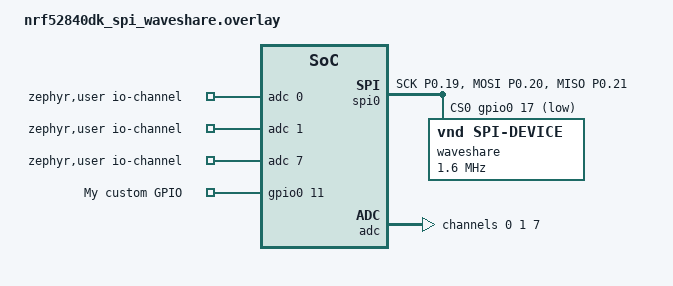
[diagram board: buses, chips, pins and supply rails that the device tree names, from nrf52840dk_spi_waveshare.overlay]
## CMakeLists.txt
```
# SPDX-License-Identifier: Apache-2.0

cmake_minimum_required(VERSION 3.20.0)
find_package(Zephyr REQUIRED HINTS $ENV{ZEPHYR_BASE})
project(beacon)

include_directories(include/)
target_sources(app PRIVATE 
    src/main.c
    src/epd_driver.c
    # src/bluetooth.c
    # src/tds.c
    # src/ultrasonic.c
)
```

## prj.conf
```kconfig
# Bluetooth
CONFIG_BT=y
CONFIG_BT_PERIPHERAL=y
CONFIG_BT_DEVICE_NAME="water.ai"

# for SPI
# CONFIG_SPI=y
CONFIG_GPIO=y
CONFIG_DISPLAY=y
CONFIG_SSD16XX=y

# # required for SPI
# CONFIG_MIPI_DBI=y
# CONFIG_MIPI_DBI_SPI=y

# Analog sensor
CONFIG_ADC=y
CONFIG_ADC_ASYNC=y

# Logging (Recommended)
CONFIG_LOG=y
# CONFIG_LOG_DEFAULT_LEVEL=4 
# CONFIG_DISPLAY_LOG_LEVEL_DBG=y
# CONFIG_SPI_LOG_LEVEL_DBG=y
# CONFIG_MIPI_DBI_LOG_LEVEL_DBG=y

CONFIG_I2C=y
CONFIG_I2C_NRFX=y
```

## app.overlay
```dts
/*
 * SPDX-License-Identifier: Apache-2.0
 *
 * Copyright (c) 2022 Nordic Semiconductor ASA
 */


/ {
	zephyr,user {
		io-channels = <&adc 0>, <&adc 1>, <&adc 7>;
	};
};

&adc {
	#address-cells = <1>;
	#size-cells = <0>;

	channel@0 {
		reg = <0>;
		zephyr,gain = "ADC_GAIN_1_6";
		zephyr,reference = "ADC_REF_INTERNAL";
		zephyr,acquisition-time = <ADC_ACQ_TIME_DEFAULT>;
		zephyr,input-positive = <NRF_SAADC_AIN1>; /* P0.03 */
		zephyr,resolution = <12>;
	};

	channel@1 {
		reg = <1>;
		zephyr,gain = "ADC_GAIN_1_6";
		zephyr,reference = "ADC_REF_INTERNAL";
		zephyr,acquisition-time = <ADC_ACQ_TIME_DEFAULT>;
		zephyr,input-positive = <NRF_SAADC_VDD>;
		zephyr,resolution = <14>;
		zephyr,oversampling = <8>;
	};

	channel@7 {
		reg = <7>;
		zephyr,gain = "ADC_GAIN_1_5";
		zephyr,reference = "ADC_REF_VDD_1_4";
		zephyr,vref-mv = <750>;
		zephyr,acquisition-time = <ADC_ACQ_TIME_DEFAULT>;
		zephyr,input-positive = <NRF_SAADC_AIN6>; /* P0.30 */
		zephyr,input-negative = <NRF_SAADC_AIN7>; /* P0.31 */
		zephyr,resolution = <12>;
	};
};

// i2c1 uses pin 30 and 31
// https://github.com/zephyrproject-rtos/zephyr/blob/fd6b05c81b86a1ffe465d56ded7b73a9fdb7f14b/boards/nordic/nrf52840dk/nrf52840dk_nrf52840.dts#L209-L216
// https://github.com/zephyrproject-rtos/zephyr/blob/fd6b05c81b86a1ffe465d56ded7b73a9fdb7f14b/boards/nordic/nrf52840dk/nrf52840dk_nrf52840-pinctrl.dtsi#L64-L77
&i2c1 {
	compatible = "nordic,nrf-twim";
	status = "okay";
	clock-frequency = <100000>;

	imu:nRF52840@28 {
		// device compatible
		label = "imu";
       	reg = <0x68>;
   	};
};
```

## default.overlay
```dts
/*
 * Copyright (c) 2017 Linaro Limited
 *
 * SPDX-License-Identifier: Apache-2.0
 */

#include <nordic/nrf52840_qiaa.dtsi>
#include <nordic/nrf52840_partition.dtsi>
#include "./zephyr/boards/nordic/nrf52840dk/nrf52840dk_nrf52840-pinctrl.dtsi"
#include <zephyr/dt-bindings/input/input-event-codes.h>

/ {
	model = "Nordic nRF52840 DK NRF52840";
	compatible = "nordic,nrf52840-dk-nrf52840";

	chosen {
		zephyr,console = &uart0;
		zephyr,shell-uart = &uart0;
		zephyr,uart-mcumgr = &uart0;
		zephyr,bt-mon-uart = &uart0;
		zephyr,bt-c2h-uart = &uart0;
		zephyr,ieee802154 = &ieee802154;
		zephyr,boot-mode = &boot_mode0;
	};

	/* These aliases are provided for compatibility with samples */
	aliases {
		bootloader-led0 = &led0;
		mcuboot-button0 = &button0;
		mcuboot-led0 = &led0;
		watchdog0 = &wdt0;
	};
};

&reg0 {
	status = "okay";
};

&reg1 {
	regulator-initial-mode = <NRF5X_REG_MODE_DCDC>;
};

&adc {
	status = "okay";
};

&uicr {
	gpio-as-nreset;
};

&gpiote {
	status = "okay";
};

&nfct {
	status = "okay";
};

&gpio0 {
	status = "okay";
	gpio-reserved-ranges = <0 2>, <6 1>, <8 3>, <24 1>;
	gpio-line-names = "XL1", "XL2", "AREF", "A0", "A1", "RTS", "TXD",
		"CTS", "RXD", "NFC1", "NFC2", "BUTTON1", "BUTTON2", "LED1",
		"LED2", "LED3", "LED4", "QSPI CS", "RESET", "QSPI CLK",
		"QSPI DIO0", "QSPI DIO1", "QSPI DIO2", "QSPI DIO3", "EPD_RST",
		"BUTTON4", "SDA", "SCL", "A2", "A3", "A4", "A5";
};

&gpio1 {
	status = "okay";
	gpio-line-names = "", "D0", "D1", "D2", "D3", "D4", "D5", "D6",
		"D7", "", "D8", "D9", "D10", "D11", "D12", "D13";
};

&spi0 {
	compatible = "nordic,nrf-spi";
	/* Cannot be used together with i2c0. */
	status = "okay";
	pinctrl-0 = <&spi0_default>;
	pinctrl-1 = <&spi0_sleep>;
	pinctrl-names = "default", "sleep";
};

&spi1 {
	compatible = "nordic,nrf-spi";
	status = "okay";
	pinctrl-0 = <&spi1_default>;
	pinctrl-1 = <&spi1_sleep>;
	pinctrl-names = "default", "sleep";
};

&spi2 {
	compatible = "nordic,nrf-spi";
	status = "disabled";
	pinctrl-0 = <&spi2_default>;
	pinctrl-1 = <&spi2_sleep>;
	pinctrl-names = "default", "sleep";
};

&qspi {
	status = "okay";
	pinctrl-0 = <&qspi_default>;
	pinctrl-1 = <&qspi_sleep>;
	pinctrl-names = "default", "sleep";

	mx25r64: mx25r6435f@0 {
		compatible = "nordic,qspi-nor";
		reg = <0>;
		/* MX25R64 supports only pp and pp4io */
		writeoc = "pp4io";
		/* MX25R64 supports all readoc options */
		readoc = "read4io";
		sck-frequency = <8000000>;
		jedec-id = [c2 28 17];
		sfdp-bfp = [
			e5 20 f1 ff  ff ff ff 03  44 eb 08 6b  08 3b 04 bb
			ee ff ff ff  ff ff 00 ff  ff ff 00 ff  0c 20 0f 52
			10 d8 00 ff  23 72 f5 00  82 ed 04 cc  44 83 68 44
			30 b0 30 b0  f7 c4 d5 5c  00 be 29 ff  f0 d0 ff ff
		];
		size = <67108864>;
		has-dpd;
		t-enter-dpd = <10000>;
		t-exit-dpd = <35000>;
	};
};

arduino_spi: &spi3 {
	status = "okay";
	cs-gpios = <&arduino_header 16 GPIO_ACTIVE_LOW>; /* D10 */
	pinctrl-0 = <&spi3_default>;
	pinctrl-1 = <&spi3_sleep>;
	pinctrl-names = "default", "sleep";
};

&ieee802154 {
	status = "okay";
};

zephyr_udc0: &usbd {
	compatible = "nordic,nrf-usbd";
	status = "okay";
};

&gpregret1 {
	status = "okay";

	boot_mode0: boot_mode@0 {
		compatible = "zephyr,retention";
		status = "okay";
		reg = <0x0 0x1>;
	};
};
```

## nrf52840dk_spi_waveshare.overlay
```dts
/ {
	zephyr,user {
		io-channels = <&adc 0>, <&adc 1>, <&adc 7>;
	};

   custom_gpios {
      compatible = "gpio-keys";
      cusgpio0: cusgpio_0 {
         gpios = <&gpio0 11 GPIO_ACTIVE_HIGH>;
         label = "My custom GPIO";
      };
   };

   aliases {
       mycusgpio = &cusgpio0;
   };
};

&spi0 {
        compatible = "nordic,nrf-spi";
        status = "okay";
        cs-gpios = <&gpio0 17 GPIO_ACTIVE_LOW>;
        pinctrl-0 = <&spi0_default>;
        pinctrl-1 = <&spi0_sleep>;
        pinctrl-names = "default", "sleep";
        my_spi_display: waveshare@0 {
                compatible = "vnd,spi-device";
                reg = <0>;
                spi-max-frequency = <1600000>;
                label = "waveshare";
        };
};

&spi1 {
    status = "disabled";
};

&spi2 {
    status = "disabled";
};

&spi3 {
    status = "disabled";
};
 
&qspi {
    status = "disabled";
};

&pinctrl {
        spi0_default: spi0_default {
                group1 {
                        psels = <NRF_PSEL(SPIM_SCK, 0, 19)>,
                                <NRF_PSEL(SPIM_MOSI, 0, 20)>,
                                <NRF_PSEL(SPIM_MISO, 0, 21)>;
                };
        };

        spi0_sleep: spi0_sleep {
                group1 {
                        psels = <NRF_PSEL(SPIM_SCK, 0, 19)>,
                                <NRF_PSEL(SPIM_MOSI, 0, 20)>,
                                <NRF_PSEL(SPIM_MISO, 0, 21)>;
                        low-power-enable;
                };
        };
};

&adc {
	#address-cells = <1>;
	#size-cells = <0>;

	channel@0 {
		reg = <0>;
		zephyr,gain = "ADC_GAIN_1_6";
		zephyr,reference = "ADC_REF_INTERNAL";
		zephyr,acquisition-time = <ADC_ACQ_TIME_DEFAULT>;
		zephyr,input-positive = <NRF_SAADC_AIN1>; /* P0.03 */
		zephyr,resolution = <12>;
	};

	channel@1 {
		reg = <1>;
		zephyr,gain = "ADC_GAIN_1_6";
		zephyr,reference = "ADC_REF_INTERNAL";
		zephyr,acquisition-time = <ADC_ACQ_TIME_DEFAULT>;
		zephyr,input-positive = <NRF_SAADC_VDD>;
		zephyr,resolution = <14>;
		zephyr,oversampling = <8>;
	};

	channel@7 {
		reg = <7>;
		zephyr,gain = "ADC_GAIN_1_5";
		zephyr,reference = "ADC_REF_VDD_1_4";
		zephyr,vref-mv = <750>;
		zephyr,acquisition-time = <ADC_ACQ_TIME_DEFAULT>;
		zephyr,input-positive = <NRF_SAADC_AIN6>; /* P0.30 */
		zephyr,input-negative = <NRF_SAADC_AIN7>; /* P0.31 */
		zephyr,resolution = <12>;
	};
};
```

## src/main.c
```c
#include <zephyr/kernel.h>
#include <zephyr/devicetree.h>
#include <zephyr/drivers/gpio.h>
#include <zephyr/drivers/spi.h>
#include <zephyr/logging/log.h>
#include "eink/epd_driver.h"

LOG_MODULE_REGISTER(main, LOG_LEVEL_DBG);

// Device tree nodes for SPI and GPIO
#define SPI1_NODE DT_NODELABEL(spi1) // this defines SCK: 31, MOSI/DIN: 30
static const struct device* spi1_dev = DEVICE_DT_GET(SPI1_NODE);
const struct device* gpio0_dev = DEVICE_DT_GET(DT_NODELABEL(gpio0));
const struct device* gpio1_dev = DEVICE_DT_GET(DT_NODELABEL(gpio1));

// Increase stack size for display operations
#define STACK_SIZE 4096
#define PRIORITY 5

// Pin definitions
#define EPD_CS_PIN 7    // GPIO1_7
#define EPD_DC_PIN 21   // GPIO0_21
#define EPD_RST_PIN 26  // GPIO0_26 (Changed from 24 to 26 to match default.overlay D14)
#define EPD_BUSY_PIN 22 // GPIO0_22

// Display dimensions (200x200 for D variant)
#define EPD_2IN13D_WIDTH (EPD_WIDTH)
#define EPD_2IN13D_HEIGHT (EPD_HEIGHT)

// Display instance
static epd_driver_t display;

// Static buffer for display data
static uint8_t display_buffer[EPD_BUFFER_SIZE];

// Stack for main thread
K_THREAD_STACK_DEFINE(main_stack, STACK_SIZE);

int main(void) {
    // Check devices are ready
    if (!device_is_ready(spi1_dev) || !device_is_ready(gpio0_dev) || !device_is_ready(gpio1_dev)) {
        LOG_ERR("Devices not ready");
        return 0;
    }

    LOG_INF("Devices ready - GPIO0: %p, GPIO1: %p, SPI: %p", gpio0_dev, gpio1_dev, spi1_dev);
    k_msleep(100);  // Longer delay to ensure stable power

    // Configure GPIO pins
    LOG_INF("Starting GPIO configuration...");
    k_msleep(10);

    // Configure and verify DC pin
    LOG_INF("Configuring DC pin (GPIO0_%d)", EPD_DC_PIN);
    int ret = gpio_pin_configure(gpio0_dev, EPD_DC_PIN, GPIO_OUTPUT);
    if (ret != 0) {
        LOG_ERR("Failed to configure DC pin: %d", ret);
        return 0;
    }
    k_msleep(5);
    int val = gpio_pin_get(gpio0_dev, EPD_DC_PIN);
    LOG_INF("DC pin state after config: %d", val);
    ret = gpio_pin_set(gpio0_dev, EPD_DC_PIN, 1);
    if (ret != 0) {
        LOG_ERR("Failed to set DC pin high: %d", ret);
        return 0;
    }
    k_msleep(5);
    val = gpio_pin_get(gpio0_dev, EPD_DC_PIN);
    LOG_INF("DC pin state after set high: %d", val);
    k_msleep(10);

    // Configure and verify BUSY pin
    LOG_INF("Configuring BUSY pin (GPIO0_%d)", EPD_BUSY_PIN);
    ret = gpio_pin_configure(gpio0_dev, EPD_BUSY_PIN, GPIO_INPUT);
    if (ret != 0) {
        LOG_ERR("Failed to configure BUSY pin: %d", ret);
        return 0;
    }
    k_msleep(5);
    val = gpio_pin_get(gpio0_dev, EPD_BUSY_PIN);
    LOG_INF("BUSY pin state: %d", val);
    k_msleep(10);

    // Configure and verify RST pin
    LOG_INF("Configuring RST pin (GPIO0_%d)", EPD_RST_PIN);
    ret = gpio_pin_configure(gpio0_dev, EPD_RST_PIN, GPIO_OUTPUT);
    if (ret != 0) {
        LOG_ERR("Failed to configure RST pin: %d", ret);
        return 0;
    }
    k_msleep(5);
    val = gpio_pin_get(gpio0_dev, EPD_RST_PIN);
    LOG_INF("RST pin state after config: %d", val);
    ret = gpio_pin_set(gpio0_dev, EPD_RST_PIN, 1);
    if (ret != 0) {
        LOG_ERR("Failed to set RST pin high: %d", ret);
        return 0;
    }
    k_msleep(5);
    val = gpio_pin_get(gpio0_dev, EPD_RST_PIN);
    LOG_INF("RST pin state after set high: %d", val);
    k_msleep(10);

    // Configure and verify CS pin
    LOG_INF("Configuring CS pin (GPIO1_%d)", EPD_CS_PIN);
    ret = gpio_pin_configure(gpio1_dev, EPD_CS_PIN, GPIO_OUTPUT);
    if (ret != 0) {
        LOG_ERR("Failed to configure CS pin: %d", ret);
        return 0;
    }
    k_msleep(5);
    val = gpio_pin_get(gpio1_dev, EPD_CS_PIN);
    LOG_INF("CS pin state after config: %d", val);
    ret = gpio_pin_set(gpio1_dev, EPD_CS_PIN, 1);
    if (ret != 0) {
        LOG_ERR("Failed to set CS pin high: %d", ret);
        return 0;
    }
    k_msleep(5);
    val = gpio_pin_get(gpio1_dev, EPD_CS_PIN);
    LOG_INF("CS pin state after set high: %d", val);
    k_msleep(10);

    LOG_INF("GPIO configuration complete");
    k_msleep(100);  // Longer delay after GPIO config

    // Store device pointers
    LOG_INF("Storing device pointers");
    display.spi_dev = spi1_dev;
    display.gpio0_dev = gpio0_dev;
    display.gpio1_dev = gpio1_dev;
    LOG_INF("Device pointers stored");
    k_msleep(100);  // Longer delay after storing pointers

    // Initialize display
    LOG_INF("Initializing display");
    if (epd_init(&display, EPD_CS_PIN, EPD_DC_PIN, EPD_RST_PIN, EPD_BUSY_PIN, gpio0_dev, gpio1_dev, spi1_dev) != 0) {
        LOG_ERR("Display init failed");
        return 0;
    }
    LOG_INF("Display initialized");
    k_msleep(100);  // Longer delay after init
    
    // Clear screen to white
    LOG_INF("Clearing screen to white");
    epd_clear_screen(&display, 0xFF);
    LOG_INF("Screen cleared");
    k_msleep(10000);  // Longer delay after clear

    // Initialize display buffer (all white)
    LOG_INF("Initializing display buffer");
    memset(display_buffer, 0xFF, EPD_BUFFER_SIZE);
    LOG_INF("Display buffer initialized");
    k_msleep(100);  // Longer delay after buffer init

    // Draw a simple pattern in the middle
    LOG_INF("Drawing test pattern");
    for (int i = 0; i < 20; i++) {
        display_buffer[100 * (EPD_WIDTH / 8) + i] = 0x55;  // Draw a black line
    }
    LOG_INF("Pattern drawn");
    k_msleep(100);  // Longer delay after drawing
    
    // Write to display and refresh
    LOG_INF("Writing pattern to display");
    epd_write_image(&display, display_buffer, 0, 0, EPD_WIDTH, EPD_HEIGHT, false, false);
    LOG_INF("Pattern written to display");
    k_msleep(100);  // Longer delay after write

    LOG_INF("Refreshing display");
    epd_refresh(&display, false);
    LOG_INF("Display refreshed");
    k_msleep(2000);  // Wait 2 seconds to see the update

    // Power off
    LOG_INF("Powering off display");
    display.power_off(&display);
    LOG_INF("Display powered off");
    
    // Done
    while (1) {
        k_msleep(1000);
        LOG_INF("Still alive...");
    }

    return 0;
}
```

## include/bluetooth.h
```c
#ifndef BLUETOOTH_H
#define BLUETOOTH_H

#include <zephyr/types.h>
#include <zephyr/kernel.h>
#include <zephyr/sys/util.h>
#include <zephyr/sys/byteorder.h>
#include <stddef.h>

#include <zephyr/bluetooth/bluetooth.h>
#include <zephyr/bluetooth/hci.h>
#include <zephyr/bluetooth/gap.h>
#include <zephyr/bluetooth/uuid.h>
#include <zephyr/bluetooth/gatt.h>
#include <zephyr/bluetooth/conn.h>

#define DEVICE_NAME "water.ai"
#define DEVICE_NAME_LEN (sizeof(DEVICE_NAME) - 1)

#define BT_BYTES_LIST_LE16(_v)      \
        (((_v) >>  0) & 0xFFU),     \
        (((_v) >>  8) & 0xFFU)      \

// Define service UUID
#define WATER_AI_SERVICE_UUID BT_UUID_128_ENCODE(0x6E536C92, 0x0184, 0x47AD, 0xA0F9, 0x54BCE6B10D1E)

// Define characteristic UUIDs
#define TDS_VALUE_CHAR_UUID    0x2A56  // Digital value characteristic
#define TDS_STRING_CHAR_UUID   0x2A3D  // String characteristic for TDS level display

// Function called when Bluetooth is ready
void bt_ready(int err);

// Function to update advertised number (0-2000)
void bt_set_adv_number(uint16_t number);

#endif // BLUETOOTH_H
```

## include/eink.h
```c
#ifndef EINK_H
#define EINK_H

#include <stdint.h>

// Initialize the e-ink display
void eink_init(void);

// Update the entire display with a new image
void eink_update_full(const uint8_t* image_data);

// Update a portion of the display
void eink_update_partial(int16_t x, int16_t y, int16_t w, int16_t h, const uint8_t* image_data);

// Draw text on the display
void eink_draw_text(int16_t x, int16_t y, const char* text);

// Power off the display
void eink_power_off(void);

// Deep sleep mode
void eink_deep_sleep(void);

#endif // EINK_H 
```

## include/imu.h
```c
#ifndef IMU_H
#define IMU_H
#include <stdint.h>
#include <stdbool.h>

typedef struct gyro_data {
    bool valid;
    int16_t x_deg_s;
    int16_t y_deg_s;
    int16_t z_deg_s;
} gyro_data_t;

int init_imu(void);
gyro_data_t read_imu(void);

#endif // IMU_H
```

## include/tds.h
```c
#ifndef TDS_H
#define TDS_H
#include <stdint.h>
#include <stdbool.h>
// https://docs.zephyrproject.org/latest/samples/drivers/adc/adc_dt/README.html

bool init_tds(void);
int read_tds(void);

#endif // TDS_H
```

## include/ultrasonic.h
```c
#ifndef ULTRASONIC_H
#define ULTRASONIC_H

int read_ultrasonic(void);

#endif // ULTRASONIC_H
```

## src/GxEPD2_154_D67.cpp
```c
#include <eink/GxEPD2_154_D67.h>

GxEPD2_154_D67::GxEPD2_154_D67(int16_t cs, int16_t dc, int16_t rst, int16_t busy) :
  GxEPD2_EPD(cs, dc, rst, busy, HIGH, 10000000, WIDTH, HEIGHT, panel, hasColor, hasPartialUpdate, hasFastPartialUpdate)
{
}

void GxEPD2_154_D67::clearScreen(uint8_t value)
{
  // full refresh needed for all cases (previous != screen)
  _writeScreenBuffer(0x26, value); // set previous
  _writeScreenBuffer(0x24, value); // set current
  refresh(false); // full refresh
  _initial_write = false;
}

void GxEPD2_154_D67::writeScreenBuffer(uint8_t value)
{
  if (_initial_write) return clearScreen(value);
  _writeScreenBuffer(0x24, value); // set current
}

void GxEPD2_154_D67::writeScreenBufferAgain(uint8_t value)
{
  _writeScreenBuffer(0x24, value); // set current
  _writeScreenBuffer(0x26, value); // set previous
}

void GxEPD2_154_D67::_writeScreenBuffer(uint8_t command, uint8_t value)
{
  if (!_init_display_done) _InitDisplay();
  _setPartialRamArea(0, 0, WIDTH, HEIGHT);
  _writeCommand(command);
  _startTransfer();
  for (uint32_t i = 0; i < uint32_t(WIDTH) * uint32_t(HEIGHT) / 8; i++)
  {
    _transfer(value);
  }
  _endTransfer();
}

void GxEPD2_154_D67::writeImage(const uint8_t bitmap[], int16_t x, int16_t y, int16_t w, int16_t h, bool invert, bool mirror_y, bool pgm)
{
  _writeImage(0x24, bitmap, x, y, w, h, invert, mirror_y, pgm);
}

void GxEPD2_154_D67::writeImageForFullRefresh(const uint8_t bitmap[], int16_t x, int16_t y, int16_t w, int16_t h, bool invert, bool mirror_y, bool pgm)
{
  _writeImage(0x26, bitmap, x, y, w, h, invert, mirror_y, pgm); // set previous
  _writeImage(0x24, bitmap, x, y, w, h, invert, mirror_y, pgm); // set current
}

void GxEPD2_154_D67::writeImageAgain(const uint8_t bitmap[], int16_t x, int16_t y, int16_t w, int16_t h, bool invert, bool mirror_y, bool pgm)
{
  _writeImage(0x26, bitmap, x, y, w, h, invert, mirror_y, pgm); // set previous
  _writeImage(0x24, bitmap, x, y, w, h, invert, mirror_y, pgm); // set current
}

void GxEPD2_154_D67::_writeImage(uint8_t command, const uint8_t bitmap[], int16_t x, int16_t y, int16_t w, int16_t h, bool invert, bool mirror_y, bool pgm)
{
  delay(1); // yield() to avoid WDT on ESP8266 and ESP32
  int16_t wb = (w + 7) / 8; // width bytes, bitmaps are padded
  x -= x % 8; // byte boundary
  w = wb * 8; // byte boundary
  int16_t x1 = x < 0 ? 0 : x; // limit
  int16_t y1 = y < 0 ? 0 : y; // limit
  int16_t w1 = x + w < int16_t(WIDTH) ? w : int16_t(WIDTH) - x; // limit
  int16_t h1 = y + h < int16_t(HEIGHT) ? h : int16_t(HEIGHT) - y; // limit
  int16_t dx = x1 - x;
  int16_t dy = y1 - y;
  w1 -= dx;
  h1 -= dy;
  if ((w1 <= 0) || (h1 <= 0)) return;
  if (!_init_display_done) _InitDisplay();
  if (_initial_write) writeScreenBuffer(); // initial full screen buffer clean
  _setPartialRamArea(x1, y1, w1, h1);
  _writeCommand(command);
  _startTransfer();
  for (int16_t i = 0; i < h1; i++)
  {
    for (int16_t j = 0; j < w1 / 8; j++)
    {
      uint8_t data;
      // use wb, h of bitmap for index!
      int16_t idx = mirror_y ? j + dx / 8 + ((h - 1 - (i + dy))) * wb : j + dx / 8 + (i + dy) * wb;
      if (pgm)
      {
#if defined(__AVR) || defined(ESP8266) || defined(ESP32)
        data = pgm_read_byte(&bitmap[idx]);
#else
        data = bitmap[idx];
#endif
      }
      else
      {
        data = bitmap[idx];
      }
      if (invert) data = ~data;
      _transfer(data);
    }
  }
  _endTransfer();
  delay(1); // yield() to avoid WDT on ESP8266 and ESP32
}

void GxEPD2_154_D67::writeImagePart(const uint8_t bitmap[], int16_t x_part, int16_t y_part, int16_t w_bitmap, int16_t h_bitmap,
                                    int16_t x, int16_t y, int16_t w, int16_t h, bool invert, bool mirror_y, bool pgm)
{
  _writeImagePart(0x24, bitmap, x_part, y_part, w_bitmap, h_bitmap, x, y, w, h, invert, mirror_y, pgm);
}

void GxEPD2_154_D67::writeImagePartAgain(const uint8_t bitmap[], int16_t x_part, int16_t y_part, int16_t w_bitmap, int16_t h_bitmap,
    int16_t x, int16_t y, int16_t w, int16_t h, bool invert, bool mirror_y, bool pgm)
{
  _writeImagePart(0x26, bitmap, x_part, y_part, w_bitmap, h_bitmap, x, y, w, h, invert, mirror_y, pgm);
  _writeImagePart(0x24, bitmap, x_part, y_part, w_bitmap, h_bitmap, x, y, w, h, invert, mirror_y, pgm);
}

void GxEPD2_154_D67::_writeImagePart(uint8_t command, const uint8_t bitmap[], int16_t x_part, int16_t y_part, int16_t w_bitmap, int16_t h_bitmap,
                                     int16_t x, int16_t y, int16_t w, int16_t h, bool invert, bool mirror_y, bool pgm)
{
  delay(1); // yield() to avoid WDT on ESP8266 and ESP32
  if ((w_bitmap < 0) || (h_bitmap < 0) || (w < 0) || (h < 0)) return;
  if ((x_part < 0) || (x_part >= w_bitmap)) return;
  if ((y_part < 0) || (y_part >= h_bitmap)) return;
  int16_t wb_bitmap = (w_bitmap + 7) / 8; // width bytes, bitmaps are padded
  x_part -= x_part % 8; // byte boundary
  w = w_bitmap - x_part < w ? w_bitmap - x_part : w; // limit
  h = h_bitmap - y_part < h ? h_bitmap - y_part : h; // limit
  x -= x % 8; // byte boundary
  w = 8 * ((w + 7) / 8); // byte boundary, bitmaps are padded
  int16_t x1 = x < 0 ? 0 : x; // limit
  int16_t y1 = y < 0 ? 0 : y; // limit
  int16_t w1 = x + w < int16_t(WIDTH) ? w : int16_t(WIDTH) - x; // limit
  int16_t h1 = y + h < int16_t(HEIGHT) ? h : int16_t(HEIGHT) - y; // limit
  int16_t dx = x1 - x;
  int16_t dy = y1 - y;
  w1 -= dx;
  h1 -= dy;
  if ((w1 <= 0) || (h1 <= 0)) return;
  if (!_init_display_done) _InitDisplay();
  if (_initial_write) writeScreenBuffer(); // initial full screen buffer clean
  _setPartialRamArea(x1, y1, w1, h1);
  _writeCommand(command);
  _startTransfer();
  for (int16_t i = 0; i < h1; i++)
  {
    for (int16_t j = 0; j < w1 / 8; j++)
    {
      uint8_t data;
      // use wb_bitmap, h_bitmap of bitmap for index!
      int16_t idx = mirror_y ? x_part / 8 + j + dx / 8 + ((h_bitmap - 1 - (y_part + i + dy))) * wb_bitmap : x_part / 8 + j + dx / 8 + (y_part + i + dy) * wb_bitmap;
      if (pgm)
      {
#if defined(__AVR) || defined(ESP8266) || defined(ESP32)
        data = pgm_read_byte(&bitmap[idx]);
#else
        data = bitmap[idx];
#endif
      }
      else
      {
        data = bitmap[idx];
      }
      if (invert) data = ~data;
      _transfer(data);
    }
  }
  _endTransfer();
  delay(1); // yield() to avoid WDT on ESP8266 and ESP32
}

void GxEPD2_154_D67::writeImage(const uint8_t* black, const uint8_t* color, int16_t x, int16_t y, int16_t w, int16_t h, bool invert, bool mirror_y, bool pgm)
{
  if (black)
  {
    writeImage(black, x, y, w, h, invert, mirror_y, pgm);
  }
}

void GxEPD2_154_D67::writeImagePart(const uint8_t* black, const uint8_t* color, int16_t x_part, int16_t y_part, int16_t w_bitmap, int16_t h_bitmap,
                                    int16_t x, int16_t y, int16_t w, int16_t h, bool invert, bool mirror_y, bool pgm)
{
  if (black)
  {
    writeImagePart(black, x_part, y_part, w_bitmap, h_bitmap, x, y, w, h, invert, mirror_y, pgm);
  }
}

void GxEPD2_154_D67::writeNative(const uint8_t* data1, const uint8_t* data2, int16_t x, int16_t y, int16_t w, int16_t h, bool invert, bool mirror_y, bool pgm)
{
  if (data1)
  {
    writeImage(data1, x, y, w, h, invert, mirror_y, pgm);
  }
}

void GxEPD2_154_D67::drawImage(const uint8_t bitmap[], int16_t x, int16_t y, int16_t w, int16_t h, bool invert, bool mirror_y, bool pgm)
{
  writeImage(bitmap, x, y, w, h, invert, mirror_y, pgm);
  refresh(x, y, w, h);
  writeImageAgain(bitmap, x, y, w, h, invert, mirror_y, pgm);
}

void GxEPD2_154_D67::drawImagePart(const uint8_t bitmap[], int16_t x_part, int16_t y_part, int16_t w_bitmap, int16_t h_bitmap,
                                   int16_t x, int16_t y, int16_t w, int16_t h, bool invert, bool mirror_y, bool pgm)
{
  writeImagePart(bitmap, x_part, y_part, w_bitmap, h_bitmap, x, y, w, h, invert, mirror_y, pgm);
  refresh(x, y, w, h);
  writeImagePartAgain(bitmap, x_part, y_part, w_bitmap, h_bitmap, x, y, w, h, invert, mirror_y, pgm);
}

void GxEPD2_154_D67::drawImage(const uint8_t* black, const uint8_t* color, int16_t x, int16_t y, int16_t w, int16_t h, bool invert, bool mirror_y, bool pgm)
{
  if (black)
  {
    drawImage(black, x, y, w, h, invert, mirror_y, pgm);
  }
}

void GxEPD2_154_D67::drawImagePart(const uint8_t* black, const uint8_t* color, int16_t x_part, int16_t y_part, int16_t w_bitmap, int16_t h_bitmap,
                                   int16_t x, int16_t y, int16_t w, int16_t h, bool invert, bool mirror_y, bool pgm)
{
  if (black)
  {
    drawImagePart(black, x_part, y_part, w_bitmap, h_bitmap, x, y, w, h, invert, mirror_y, pgm);
  }
}

void GxEPD2_154_D67::drawNative(const uint8_t* data1, const uint8_t* data2, int16_t x, int16_t y, int16_t w, int16_t h, bool invert, bool mirror_y, bool pgm)
{
  if (data1)
  {
    drawImage(data1, x, y, w, h, invert, mirror_y, pgm);
  }
}

void GxEPD2_154_D67::refresh(bool partial_update_mode)
{
  if (partial_update_mode) refresh(0, 0, WIDTH, HEIGHT);
  else
  {
    _Update_Full();
    _initial_refresh = false; // initial full update done
  }
}

void GxEPD2_154_D67::refresh(int16_t x, int16_t y, int16_t w, int16_t h)
{
  if (_initial_refresh) return refresh(false); // initial update needs be full update
  // intersection with screen
  int16_t w1 = x < 0 ? w + x : w; // reduce
  int16_t h1 = y < 0 ? h + y : h; // reduce
  int16_t x1 = x < 0 ? 0 : x; // limit
  int16_t y1 = y < 0 ? 0 : y; // limit
  w1 = x1 + w1 < int16_t(WIDTH) ? w1 : int16_t(WIDTH) - x1; // limit
  h1 = y1 + h1 < int16_t(HEIGHT) ? h1 : int16_t(HEIGHT) - y1; // limit
  if ((w1 <= 0) || (h1 <= 0)) return; 
  // make x1, w1 multiple of 8
  w1 += x1 % 8;
  if (w1 % 8 > 0) w1 += 8 - w1 % 8;
  x1 -= x1 % 8;
  _setPartialRamArea(x1, y1, w1, h1);
  _Update_Part();
}

void GxEPD2_154_D67::powerOff()
{
  _PowerOff();
}

void GxEPD2_154_D67::hibernate()
{
  _PowerOff();
  if (_rst >= 0)
  {
    _writeCommand(0x10); // deep sleep mode
    _writeData(0x1);     // enter deep sleep
    _hibernating = true;
    _init_display_done = false;
  }
}

void GxEPD2_154_D67::_setPartialRamArea(uint16_t x, uint16_t y, uint16_t w, uint16_t h)
{
  _writeCommand(0x11); // set ram entry mode
  _writeData(0x03);    // x increase, y increase : normal mode
  _writeCommand(0x44);
  _writeData(x / 8);
  _writeData((x + w - 1) / 8);
  _writeCommand(0x45);
  _writeData(y % 256);
  _writeData(y / 256);
  _writeData((y + h - 1) % 256);
  _writeData((y + h - 1) / 256);
  _writeCommand(0x4e);
  _writeData(x / 8);
  _writeCommand(0x4f);
  _writeData(y % 256);
  _writeData(y / 256);
}

void GxEPD2_154_D67::_PowerOn()
{
  if (!_power_is_on)
  {
    _writeCommand(0x22);
    _writeData(0xe0);
    _writeCommand(0x20);
    _waitWhileBusy("_PowerOn", power_on_time);
  }
  _power_is_on = true;
}

void GxEPD2_154_D67::_PowerOff()
{
  if (_power_is_on)
  {
    _writeCommand(0x22);
    _writeData(0x83);
    _writeCommand(0x20);
    _waitWhileBusy("_PowerOff", power_off_time);
  }
  _power_is_on = false;
  _using_partial_mode = false;
}

void GxEPD2_154_D67::_InitDisplay()
{
  if (_hibernating) _reset();
  delay(10); // 10ms according to specs
  _writeCommand(0x12); // soft reset
  delay(10); // 10ms according to specs
  _writeCommand(0x01); // Driver output control
  _writeData(0xC7);
  _writeData(0x00);
  _writeData(0x00);
  _writeCommand(0x3C); // BorderWavefrom
  _writeData(0x05);
  _writeCommand(0x18); // Read built-in temperature sensor
  _writeData(0x80);
  _setPartialRamArea(0, 0, WIDTH, HEIGHT);
  _init_display_done = true;
}

void GxEPD2_154_D67::_Update_Full()
{
  _writeCommand(0x22);
  _writeData(0xf7);
  _writeCommand(0x20);
  _waitWhileBusy("_Update_Full", full_refresh_time);
  _power_is_on = false;
}

void GxEPD2_154_D67::_Update_Part()
{
  _writeCommand(0x22);
  _writeData(0xfc);
  _writeCommand(0x20);
  _waitWhileBusy("_Update_Part", partial_refresh_time);
  _power_is_on = true;
} 
```

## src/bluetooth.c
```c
#include "bluetooth.h"
#include <stdio.h>

static uint16_t adv_number = 1;
static uint8_t adv_number_le[2] = {1, 0};
static char tds_level_string[20]; // Buffer for storing the formatted TDS level string

static ssize_t adv_number_read(struct bt_conn *conn, const struct bt_gatt_attr *attr,
                             void *buf, uint16_t len, uint16_t offset);
static ssize_t tds_level_string_read(struct bt_conn *conn, const struct bt_gatt_attr *attr,
                                    void *buf, uint16_t len, uint16_t offset);

// GATT service definition
BT_GATT_SERVICE_DEFINE(water_ai_service,
    BT_GATT_PRIMARY_SERVICE(
        BT_UUID_DECLARE_128(WATER_AI_SERVICE_UUID)
    ),
    BT_GATT_CHARACTERISTIC(BT_UUID_DECLARE_16(0x2A56), BT_GATT_CHRC_READ,
                         BT_GATT_PERM_READ, adv_number_read, NULL, NULL),
    BT_GATT_CHARACTERISTIC(BT_UUID_DECLARE_16(0x2A3D), BT_GATT_CHRC_READ,
                         BT_GATT_PERM_READ, tds_level_string_read, NULL, NULL),
);

// Callback for handling characteristic reads
static ssize_t adv_number_read(struct bt_conn *conn, const struct bt_gatt_attr *attr,
                             void *buf, uint16_t len, uint16_t offset)
{
    uint8_t out_buffer[2];
    out_buffer[0] = adv_number & 0xFF;
    out_buffer[1] = (adv_number >> 8) & 0xFF;
    
    // printk("GATT: Read adv_number: %d\n", adv_number);
    return bt_gatt_attr_read(conn, attr, buf, len, offset, out_buffer, sizeof(out_buffer));
}

// Callback for handling TDS level string characteristic reads
static ssize_t tds_level_string_read(struct bt_conn *conn, const struct bt_gatt_attr *attr,
                                    void *buf, uint16_t len, uint16_t offset)
{
    // printk("GATT: Read TDS level string: %s\n", tds_level_string);
    return bt_gatt_attr_read(conn, attr, buf, len, offset, tds_level_string, strlen(tds_level_string));
}

// Helper function to update the TDS level string
static void update_tds_level_string(void)
{
    snprintf(tds_level_string, sizeof(tds_level_string), "TDS level: %d", adv_number);
}

static void connected(struct bt_conn *conn, uint8_t err)
{
    if (err) {
        printk("Connection failed (err 0x%02x)\n", err);
    } else {
        printk("Connected\n");
    }
}

static void disconnected(struct bt_conn *conn, uint8_t reason)
{
    printk("Disconnected (reason 0x%02x)\n", reason);
}

BT_CONN_CB_DEFINE(conn_callbacks) = {
    .connected = connected,
    .disconnected = disconnected,
};

static struct bt_data ad[] = {
    BT_DATA_BYTES(BT_DATA_FLAGS, BT_LE_AD_GENERAL | BT_LE_AD_NO_BREDR),
    BT_DATA_BYTES(BT_DATA_GAP_APPEARANCE, 0x8A, 0x05), // Manually set bytes for `BT_APPEARANCE_LIGHT_FIXTURES_UNDERWATER`
    { .type = BT_DATA_MANUFACTURER_DATA,
      .data = adv_number_le,
      .data_len = sizeof(adv_number_le) },
    BT_DATA_BYTES(BT_DATA_UUID128_ALL, WATER_AI_SERVICE_UUID)
};

static struct bt_data sd[] = {
    BT_DATA(BT_DATA_NAME_COMPLETE, DEVICE_NAME, DEVICE_NAME_LEN),
};

// Function to update advertised number
void bt_set_adv_number(uint16_t number)
{
    if (number > 2000) {
        printk("Invalid adv number %d; must be 0-2000\n", number);
        return;
    }
    adv_number = number;
    adv_number_le[0] = number & 0xFF;
    adv_number_le[1] = (number >> 8) & 0xFF;
    
    update_tds_level_string();

    // Update ongoing advertising data
    bt_le_adv_update_data(ad, ARRAY_SIZE(ad), sd, ARRAY_SIZE(sd));
}

void bt_ready(int err)
{
    char addr_s[BT_ADDR_LE_STR_LEN];
    bt_addr_le_t addr = {0};
    size_t count = 1;

    if (err) {
        printk("Bluetooth init failed (err %d)\n", err);
        return;
    }
    printk("Bluetooth initialized\n");

    update_tds_level_string(); // Initialize string
    
    err = bt_le_adv_start(BT_LE_ADV_CONN, ad, ARRAY_SIZE(ad),
              sd, ARRAY_SIZE(sd));
    if (err) {
        printk("Advertising failed to start (err %d)\n", err);
        return;
    }

    bt_id_get(&addr, &count);
    bt_addr_le_to_str(&addr, addr_s, sizeof(addr_s));

    printk("Beacon started, advertising as %s\n", addr_s);
}
```

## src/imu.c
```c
#include "imu.h"
#include <inttypes.h>
#include <stddef.h>
#include <stdint.h>

#include <zephyr/device.h>
#include <zephyr/devicetree.h>
#include <zephyr/drivers/i2c.h>
#include <zephyr/kernel.h>
#include <zephyr/sys/printk.h>
#include <zephyr/sys/util.h>
#include <zephyr/logging/log.h>

LOG_MODULE_REGISTER(logging_imu);

// #define MY_TWIM DT_NODELABEL(i2c1)
// const struct device *nrfx_twis_dev1;

#define I2C0_NODE DT_NODELABEL(imu)
static const struct i2c_dt_spec dev_i2c = I2C_DT_SPEC_GET(I2C0_NODE);

#define NUM_REG 6
#define GYRO_XOUT_H 0x3B

#define GYRO_XOUT_H_IDX 0
#define GYRO_XOUT_L_IDX 1
#define GYRO_YOUT_H_IDX 2
#define GYRO_YOUT_L_IDX 3
#define GYRO_ZOUT_H_IDX 4
#define GYRO_ZOUT_L_IDX 5

static void i2c_init(void) {
     if (!device_is_ready(dev_i2c.bus)) {
        printk("I2C bus %s is not ready!\n\r",dev_i2c.bus->name);
        return;
    }


  // int config_result = false;
  //
  // nrfx_twis_dev1 = DEVICE_DT_GET(MY_TWIM);
  //
  // if (nrfx_twis_dev1 == NULL) {
  //   printk("\n\nI2C Slave: Device driver not found.\n");
  // } else {
  //   printk("\nI2C device 1: %s\n", DT_PROP(DT_NODELABEL(twis_device1), label));
  //
  //   config_result = i2c_configure(nrfx_twis_dev1, I2C_SPEED_SET(I2C_SPEED_FAST));
  //
  //   if (!config_result) {
  //     printk("I2C Master: Slave ADDR: 0x%x CLK(Hz): %u\n\n",
  //         DT_REG_ADDR(DT_NODELABEL(twis_device1)), 
  //         // DT_PROP(MY_TWIM, scl_pin),
  //         // DT_PROP(MY_TWIM, sda_pin),
  //         DT_PROP(MY_TWIM, clock_frequency));
  //   } else
  //     printk("\n\nI2C: Configuration error code: %d\n", config_result);
  // }
}


int init_imu(void) {
    // Set up IMU and register interrupt when bottle flipped over
    i2c_init();

    uint8_t pwr_mg[] = { 0x6B, 0 };

      int err;
      err = i2c_write_dt(&dev_i2c, pwr_mg, sizeof(pwr_mg));
      if (err != 0) {
          LOG_INF("dev_i2c %d\n", err);
          return -1;
      }

    return 0;
}

int16_t two_reg_to_deg_s(uint8_t high, uint8_t low) {
  int16_t deg_s = (high << 8) | low;
  // see page 31 for 250 deg/s range 
  // https://invensense.tdk.com/wp-content/uploads/2015/02/MPU-6000-Register-Map1.pdf
  // deg_s /= 131.0;
  return deg_s;
}

gyro_data_t read_imu(void) {
  int err;
  uint8_t rx_buf[NUM_REG];

  err = i2c_burst_read_dt(&dev_i2c, GYRO_XOUT_H, rx_buf, NUM_REG);
  if (err != 0) {
      gyro_data_t invalid;
      invalid.valid = false;
      return invalid;
  }

  int16_t x_deg_s = two_reg_to_deg_s(
          rx_buf[GYRO_XOUT_H_IDX], 
          rx_buf[GYRO_XOUT_L_IDX]);
  int16_t y_deg_s = two_reg_to_deg_s(
          rx_buf[GYRO_YOUT_H_IDX], 
          rx_buf[GYRO_YOUT_L_IDX]);
  int16_t z_deg_s = two_reg_to_deg_s(
          rx_buf[GYRO_ZOUT_H_IDX], 
          rx_buf[GYRO_ZOUT_L_IDX]);
  
  gyro_data_t raw_gyro = {
      .valid = true,
      .x_deg_s = x_deg_s,
      .y_deg_s = y_deg_s,
      .z_deg_s = z_deg_s,
  };

  return raw_gyro;
}
```

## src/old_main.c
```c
#include <zephyr/kernel.h>
#include <zephyr/devicetree.h>
#include <zephyr/drivers/gpio.h>
#include <zephyr/drivers/spi.h>

// #include "bluetooth.h"
// #include "tds.h"
// #include "ultrasonic.h"

#define SPI1_NODE DT_NODELABEL(spi1)
static const struct device* spi1_dev = DEVICE_DT_GET(SPI1_NODE);

#define MY_GPIO1 DT_NODELABEL(gpio1)
#define GPIO_1_CS 7
const struct device* gpio1_dev = DEVICE_DT_GET(MY_GPIO1);

static struct spi_config spi_cfg = {
	.frequency = 125000U,
	.operation = SPI_WORD_SET(8),
	.slave = 0,
};

static void setRegister(uint8_t reg, uint8_t value) {
	int err;

	uint8_t tx_values[] = {(reg & 0x7F), value};

	struct spi_buf tx_spi_bufs[] = {
		{ .buf = tx_values, .len = sizeof(tx_values) }
	};

	struct spi_buf_set spi_tx_buffer_set = {
		.buffers = tx_spi_bufs,
		.count = 1
	};

	gpio_pin_set(gpio1_dev, GPIO_1_CS, 0);
	err = spi_write(spi1_dev, &spi_cfg, &spi_tx_buffer_set);
	gpio_pin_set(gpio1_dev, GPIO_1_CS, 1);

	if (err < 0) {
		printk("setRegister failed: %d\n", err);
	}
}

int main(void) {

	gpio_pin_configure(gpio1_dev, GPIO_1_CS, GPIO_OUTPUT);
	gpio_pin_set(gpio1_dev, GPIO_1_CS, 1);

	if (!device_is_ready(spi1_dev)) {
		printk("spi1_dev not ready\n");
		return 1;
	}

	while (true) {
		setRegister(0x69, 0x69);
		k_msleep(1000);
	}

	return 0;
}
```

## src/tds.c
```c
#include "tds.h"

#include <inttypes.h>
#include <stddef.h>
#include <stdint.h>

#include <zephyr/device.h>
#include <zephyr/devicetree.h>
#include <zephyr/drivers/adc.h>
#include <zephyr/kernel.h>
#include <zephyr/sys/printk.h>
#include <zephyr/sys/util.h>

#if !DT_NODE_EXISTS(DT_PATH(zephyr_user)) || \
	!DT_NODE_HAS_PROP(DT_PATH(zephyr_user), io_channels)
#error "No suitable devicetree overlay specified"
#endif

#define CHANNEL_NUMBER 0
#define DT_SPEC_AND_COMMA(node_id, prop, idx) \
	ADC_DT_SPEC_GET_BY_IDX(node_id, idx),
#define TEMPERATURE 25.0

/* Data of ADC io-channels specified in devicetree. */
static const struct adc_dt_spec adc_channels[] = {
	DT_FOREACH_PROP_ELEM(DT_PATH(zephyr_user), io_channels,
			     DT_SPEC_AND_COMMA)
};

uint32_t count = 0;
uint16_t buf;
struct adc_sequence sequence;

bool init_tds(void) {
    int err;
	sequence = (struct adc_sequence) {
		.buffer = &buf,
		/* buffer size in bytes, not number of samples */
		.buffer_size = sizeof(buf),
	};

	/* Configure channels individually prior to sampling. */
    if (!adc_is_ready_dt(&adc_channels[CHANNEL_NUMBER])) {
        printk("ADC controller device %s not ready\n", adc_channels[CHANNEL_NUMBER].dev->name);
        return false;
    }

    err = adc_channel_setup_dt(&adc_channels[CHANNEL_NUMBER]);
    if (err < 0) {
        printk("Could not setup channel #%d (%d)\n", CHANNEL_NUMBER, err);
        return false;
    }

    return true;
}

// If this is inaccurate, could change this function to sample the TDS sensor multiple times
// returns TDS in ppm
int read_tds(void) {
    int32_t val_mv;
    int err;
    // printk("- %s, channel %d: ",
    //         adc_channels[CHANNEL_NUMBER].dev->name,
    //         adc_channels[CHANNEL_NUMBER].channel_id);

    (void)adc_sequence_init_dt(&adc_channels[CHANNEL_NUMBER], &sequence);

    err = adc_read_dt(&adc_channels[CHANNEL_NUMBER], &sequence);
    if (err < 0) {
        printk("Could not read adc (%d)\n", err);
        return -1;
    }

    /*
    * If using differential mode, the 16 bit value
    * in the ADC sample buffer should be a signed 2's
    * complement value.
    */
    if (adc_channels[CHANNEL_NUMBER].channel_cfg.differential) {
        val_mv = (int32_t)((int16_t)buf);
    } else {
        val_mv = (int32_t)buf;
    }

    // printk("%"PRId32, val_mv);
    err = adc_raw_to_millivolts_dt(&adc_channels[CHANNEL_NUMBER], &val_mv);
    /* conversion to mV may not be supported, skip if not */
    if (err < 0) {
        printk(" (value in mV not available)\n");
    } else {
        // printk(" = %"PRId32" mV\n", val_mv);
    }

    // Convert to PPM
    // https://wiki.dfrobot.com/Gravity__Analog_TDS_Sensor___Meter_For_Arduino_SKU__SEN0244

    float val_v = (float)val_mv / 1000.0F; // convert to voltage
    // temperature compensation formula: fFinalResult(25^C) = fFinalResult(current)/(1.0+0.02*(fTP-25.0));
    float compensationCoefficient = 1.0+0.02*(TEMPERATURE-25.0);
    float compensationVoltage = val_v / compensationCoefficient; // temperature compensation
    // convert voltage value to tds value
    float tdsValue = (133.42F*compensationVoltage*compensationVoltage*compensationVoltage - 255.86F*compensationVoltage*compensationVoltage + 857.39F *compensationVoltage)*0.5F;

    return (int) tdsValue;
}
```
